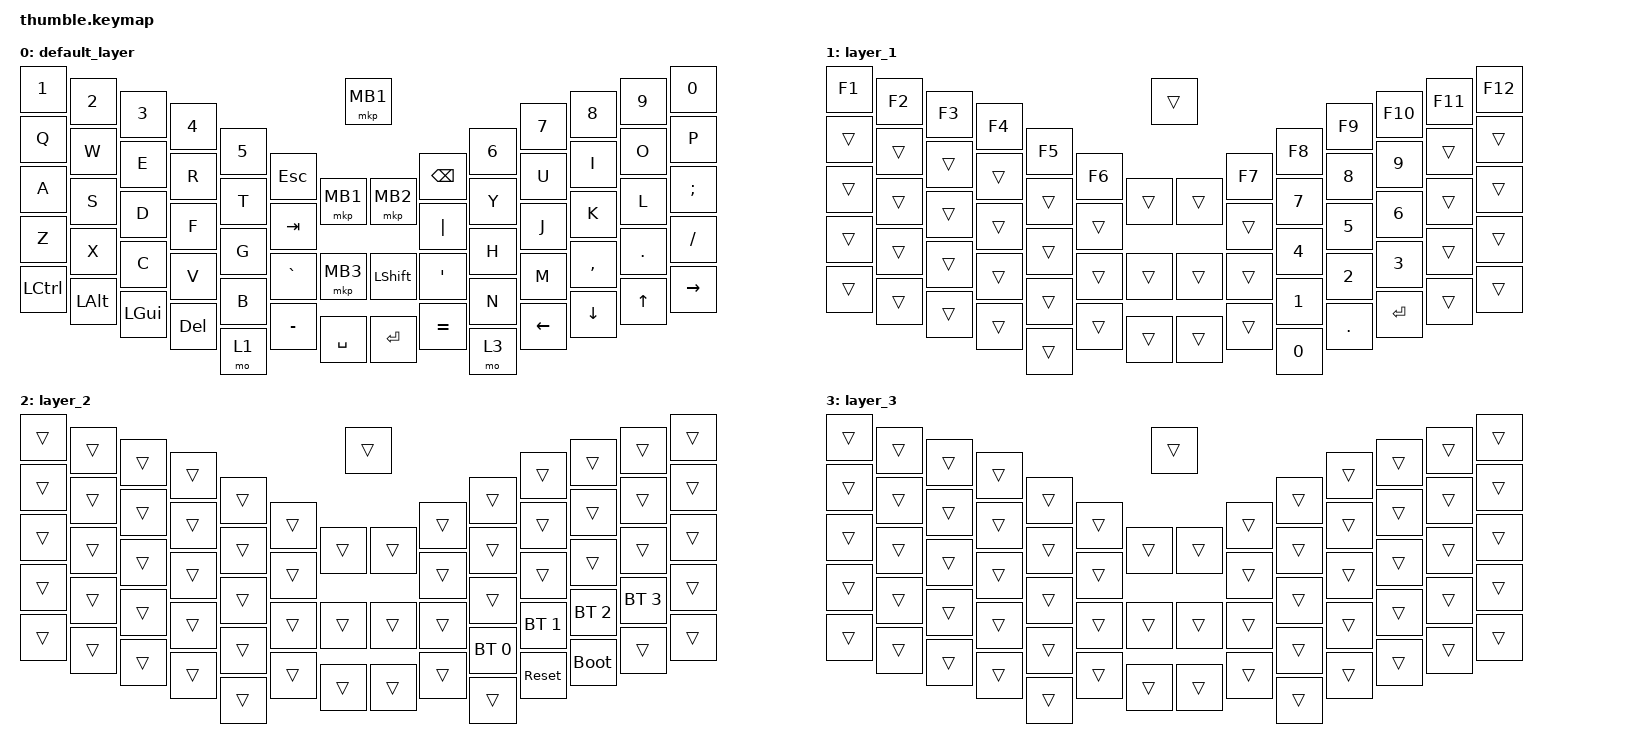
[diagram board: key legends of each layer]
#include <behaviors.dtsi>
#include <dt-bindings/zmk/bt.h>
#include <dt-bindings/zmk/keys.h>
#include <dt-bindings/zmk/pointing.h>

/ {
    keymap {
        compatible = "zmk,keymap";

        default_layer {
            bindings = <
&kp N1     &kp N2    &kp N3    &kp N4   &kp N5          &mkp MB1                    &kp N6     &kp N7  &kp N8     &kp N9    &kp N0
&kp Q      &kp W     &kp E     &kp R    &kp T   &kp ESC                     &kp BSPC   &kp Y   &kp U      &kp I     &kp O     &kp P
&kp A      &kp S     &kp D     &kp F    &kp G   &kp TAB    &mkp MB1  &mkp MB2  &kp PIPE   &kp H   &kp J      &kp K     &kp L     &kp SEMI
&kp Z      &kp X     &kp C     &kp V    &kp B   &kp GRAVE  &mkp MB3  &kp LSHFT &kp SQT    &kp N   &kp M      &kp COMMA &kp DOT   &kp FSLH
&kp LCTRL  &kp LALT  &kp LGUI  &kp DEL  &mo 1   &kp MINUS  &kp SPACE &kp RET   &kp EQUAL  &mo 3   &kp LEFT   &kp DOWN  &kp UP    &kp RIGHT
            >;
        };

        layer_1 {
            bindings = <
&kp F1  &kp F2  &kp F3  &kp F4  &kp F5          &trans                  &kp F8  &kp F9   &kp F10    &kp F11  &kp F12
&trans  &trans  &trans  &trans  &trans  &kp F6                  &kp F7  &kp N7  &kp N8   &kp N9     &trans   &trans
&trans  &trans  &trans  &trans  &trans  &trans  &trans  &trans  &trans  &kp N4  &kp N5   &kp N6     &trans   &trans
&trans  &trans  &trans  &trans  &trans  &trans  &trans  &trans  &trans  &kp N1  &kp N2   &kp N3     &trans   &trans
&trans  &trans  &trans  &trans  &trans  &trans  &trans  &trans  &trans  &kp N0  &kp DOT  &kp ENTER  &trans   &trans
            >;
        };

        layer_2 {
            bindings = <
&trans  &trans  &trans  &trans  &trans          &trans                  &trans          &trans        &trans        &trans        &trans
&trans  &trans  &trans  &trans  &trans  &trans                  &trans  &trans          &trans        &trans        &trans        &trans
&trans  &trans  &trans  &trans  &trans  &trans  &trans  &trans  &trans  &trans          &trans        &trans        &trans        &trans
&trans  &trans  &trans  &trans  &trans  &trans  &trans  &trans  &trans  &bt BT_SEL 0    &bt BT_SEL 1  &bt BT_SEL 2  &bt BT_SEL 3  &trans
&trans  &trans  &trans  &trans  &trans  &trans  &trans  &trans  &trans  &trans          &sys_reset    &bootloader   &trans        &trans
            >;
        };

        layer_3 {
            bindings = <
&trans  &trans  &trans  &trans  &trans          &trans                  &trans  &trans  &trans  &trans  &trans
&trans  &trans  &trans  &trans  &trans  &trans                  &trans  &trans  &trans  &trans  &trans  &trans
&trans  &trans  &trans  &trans  &trans  &trans  &trans  &trans  &trans  &trans  &trans  &trans  &trans  &trans
&trans  &trans  &trans  &trans  &trans  &trans  &trans  &trans  &trans  &trans  &trans  &trans  &trans  &trans
&trans  &trans  &trans  &trans  &trans  &trans  &trans  &trans  &trans  &trans  &trans  &trans  &trans  &trans
            >;
        };
    };
};
